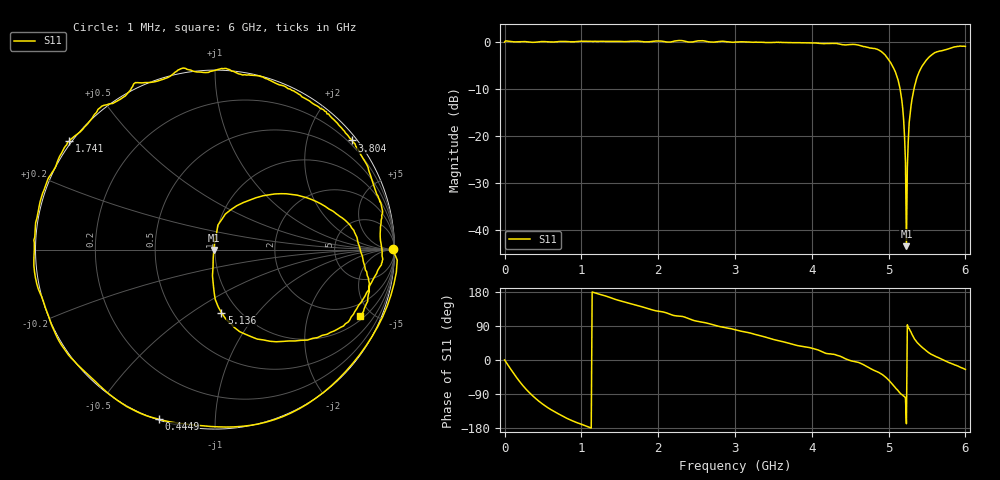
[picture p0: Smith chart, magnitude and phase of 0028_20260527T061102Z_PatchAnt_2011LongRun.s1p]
# Hz S RI R 50
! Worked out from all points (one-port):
!   501 points, 1 MHz to 6 GHz, reference 50 ohm
!   lowest |S11| = -43.6 dB at 5.232 GHz (marker M1), VSWR 1.01, Z = 49.4 - j0.134 ohm
!   |S11| at or under -10 dB: 5.149 GHz to 5.332 GHz (182.7 MHz wide, 3.49 % of centre)
!   S11 on the Smith chart (normalised r, x): 1 MHz: open; 444.9 MHz: 0.00, -0.72; 1.741 GHz: -0.01, +0.33; 3.804 GHz: 0.11, +2.85; 5.136 GHz: 0.83, -0.67; 6 GHz: 1.18, -4.25
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1000000  0.9901 0.00238
8.4986e7  0.9059 -0.4308
2.16964e8  0.4684 -0.8873
3.0095e8  0.1463 -0.9852
4.44926e8  -0.314 -0.945
7.56874e8  -0.8559 -0.531
1.068822e9  -1.009 -0.0897
1.50075e9  -0.9256 0.4029
1.74071e9  -0.8123 0.605
2.256624e9  -0.4527 0.9236
3.0005e9  0.1752 0.9723
3.756374e9  0.7362 0.6409
3.804366e9  0.7631 0.6083
4.044326e9  0.8482 0.4688
4.50025e9  0.9312 -0.0208
4.86019e9  0.7022 -0.4318
5.028162e9  0.3069 -0.5107
5.136144e9  0.0362 -0.3517
5.184136e9  -0.00949 -0.1943
5.196134e9  -0.014 -0.1459
5.208132e9  -0.011 -0.0957
5.232128e9  -0.00651 -0.00136
5.256124e9  0.00795 0.0871
5.268122e9  0.016 0.1365
5.292118e9  0.058 0.1985
5.412098e9  0.3968 0.3111
5.628062e9  0.7733 0.1073
6e9  0.8087 -0.3724
